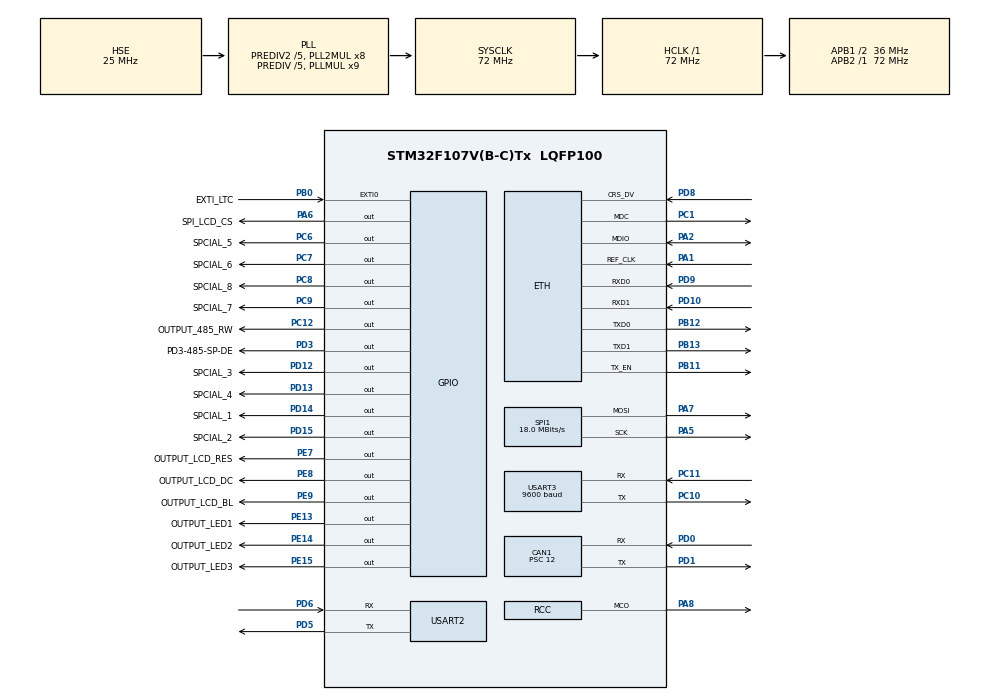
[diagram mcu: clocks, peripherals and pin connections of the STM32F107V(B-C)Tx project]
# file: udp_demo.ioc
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CAN1.BS1=CAN_BS1_5TQ
CAN1.BS2=CAN_BS2_6TQ
CAN1.CalculateTimeBit=4000
CAN1.CalculateTimeQuantum=333.33333333333337
CAN1.Prescaler=12
Dma.Request0=USART3_TX
Dma.USART3_TX.0.Direction=DMA_MEMORY_TO_PERIPH
Dma.USART3_TX.0.Instance=DMA1_Channel2
Dma.USART3_TX.0.MemDataAlignment=DMA_MDATAALIGN_BYTE
Dma.USART3_TX.0.MemInc=DMA_MINC_ENABLE
Dma.USART3_TX.0.Mode=DMA_NORMAL
Dma.USART3_TX.0.PeriphDataAlignment=DMA_PDATAALIGN_BYTE
Dma.USART3_TX.0.PeriphInc=DMA_PINC_DISABLE
Dma.USART3_TX.0.Priority=DMA_PRIORITY_LOW
ETH.MediaInterface=ETH_MEDIA_INTERFACE_RMII
LWIP.GATEWAY_ADDRESS=192.168.001.001
LWIP.IP_ADDRESS=192.168.001.252
LWIP.LWIP_DHCP=1
LWIP.LWIP_NETIF_LINK_CALLBACK=1
LWIP.NETMASK_ADDRESS=255.255.255.000
LWIP.Version=v2.0.0_Cube
Mcu.Family=STM32F1
Mcu.Name=STM32F107V(B-C)Tx
Mcu.Package=LQFP100
NVIC.CAN1_RX0_IRQn=true\:0\:0\:false\:false\:true\:true
NVIC.DMA1_Channel2_IRQn=true\:0\:0\:false\:false\:true\:false
NVIC.ETH_IRQn=true\:0\:0\:false\:false\:true\:true
NVIC.EXTI0_IRQn=true\:0\:0\:false\:false\:true\:true
NVIC.PriorityGroup=NVIC_PRIORITYGROUP_4
NVIC.TIM2_IRQn=true\:0\:0\:false\:false\:true\:true
NVIC.USART2_IRQn=true\:0\:0\:false\:false\:true\:true
NVIC.USART3_IRQn=true\:0\:0\:false\:false\:true\:true
OSC_IN.Mode=HSE-External-Oscillator
OSC_IN.Signal=RCC_OSC_IN
OSC_OUT.Mode=HSE-External-Oscillator
OSC_OUT.Signal=RCC_OSC_OUT
PA1.Mode=RMII
PA1.Signal=ETH_REF_CLK
PA13.Mode=Serial_Wire
PA13.Signal=SYS_JTMS-SWDIO
PA14.Mode=Serial_Wire
PA14.Signal=SYS_JTCK-SWCLK
PA2.Mode=RMII
PA2.Signal=ETH_MDIO
PA5.Mode=TX_Only_Simplex_Unidirect_Master
PA5.Signal=SPI1_SCK
PA6.GPIO_Label=SPI_LCD_CS
PA6.GPIO_Speed=GPIO_SPEED_FREQ_HIGH
PA6.PinState=GPIO_PIN_SET
PA6.Signal=GPIO_Output
PA7.Mode=TX_Only_Simplex_Unidirect_Master
PA7.Signal=SPI1_MOSI
PA8.GPIO_Speed=GPIO_SPEED_FREQ_HIGH
PA8.Mode=Clock-out
PA8.Signal=RCC_MCO
PB0.GPIO_Label=EXTI_LTC
PB0.GPIO_ModeDefaultEXTI=GPIO_MODE_IT_RISING_FALLING
PB0.Signal=GPXTI0
PB11.Mode=RMII
PB11.Signal=ETH_TX_EN
PB12.Mode=RMII
PB12.Signal=ETH_TXD0
PB13.Mode=RMII
PB13.Signal=ETH_TXD1
PC1.Mode=RMII
PC1.Signal=ETH_MDC
PC10.Mode=Asynchronous
PC10.Signal=USART3_TX
PC11.Mode=Asynchronous
PC11.Signal=USART3_RX
PC12.GPIO_Label=OUTPUT_485_RW
PC12.GPIO_Speed=GPIO_SPEED_FREQ_HIGH
PC12.PinState=GPIO_PIN_SET
PC12.Signal=GPIO_Output
PC6.GPIO_Label=SPCIAL_5
PC6.GPIO_ModeDefaultOutputPP=GPIO_MODE_OUTPUT_OD
PC6.PinState=GPIO_PIN_SET
PC6.Signal=GPIO_Output
PC7.GPIO_Label=SPCIAL_6
PC7.GPIO_ModeDefaultOutputPP=GPIO_MODE_OUTPUT_OD
PC7.PinState=GPIO_PIN_SET
PC7.Signal=GPIO_Output
PC8.GPIO_Label=SPCIAL_8
PC8.GPIO_ModeDefaultOutputPP=GPIO_MODE_OUTPUT_OD
PC8.PinState=GPIO_PIN_SET
PC8.Signal=GPIO_Output
PC9.GPIO_Label=SPCIAL_7
PC9.GPIO_ModeDefaultOutputPP=GPIO_MODE_OUTPUT_OD
PC9.PinState=GPIO_PIN_SET
PC9.Signal=GPIO_Output
PD0.Mode=Master
PD0.Signal=CAN1_RX
PD1.Mode=Master
PD1.Signal=CAN1_TX
PD10.Mode=RMII
PD10.Signal=ETH_RXD1
PD12.GPIO_Label=SPCIAL_3
PD12.GPIO_ModeDefaultOutputPP=GPIO_MODE_OUTPUT_OD
PD12.PinState=GPIO_PIN_SET
PD12.Signal=GPIO_Output
PD13.GPIO_Label=SPCIAL_4
PD13.GPIO_ModeDefaultOutputPP=GPIO_MODE_OUTPUT_OD
PD13.PinState=GPIO_PIN_SET
PD13.Signal=GPIO_Output
PD14.GPIO_Label=SPCIAL_1
PD14.GPIO_ModeDefaultOutputPP=GPIO_MODE_OUTPUT_OD
PD14.PinState=GPIO_PIN_SET
PD14.Signal=GPIO_Output
PD15.GPIO_Label=SPCIAL_2
PD15.GPIO_ModeDefaultOutputPP=GPIO_MODE_OUTPUT_OD
PD15.PinState=GPIO_PIN_SET
PD15.Signal=GPIO_Output
PD3.GPIO_Label=PD3-485-SP-DE
PD3.GPIO_ModeDefaultOutputPP=GPIO_MODE_OUTPUT_PP
PD3.GPIO_Speed=GPIO_SPEED_FREQ_HIGH
PD3.PinState=GPIO_PIN_SET
PD3.Signal=GPIO_Output
PD5.Mode=Asynchronous
PD5.Signal=USART2_TX
PD6.Mode=Asynchronous
PD6.Signal=USART2_RX
PD8.Mode=RMII
PD8.Signal=ETH_CRS_DV
PD9.Mode=RMII
PD9.Signal=ETH_RXD0
PE13.GPIO_Label=OUTPUT_LED1
PE13.GPIO_Speed=GPIO_SPEED_FREQ_HIGH
PE13.PinState=GPIO_PIN_SET
PE13.Signal=GPIO_Output
PE14.GPIO_Label=OUTPUT_LED2
PE14.GPIO_Speed=GPIO_SPEED_FREQ_HIGH
PE14.PinState=GPIO_PIN_RESET
PE14.Signal=GPIO_Output
PE15.GPIO_Label=OUTPUT_LED3
PE15.GPIO_Speed=GPIO_SPEED_FREQ_HIGH
PE15.PinState=GPIO_PIN_RESET
PE15.Signal=GPIO_Output
PE7.GPIO_Label=OUTPUT_LCD_RES
PE7.GPIO_Speed=GPIO_SPEED_FREQ_HIGH
PE7.PinState=GPIO_PIN_RESET
PE7.Signal=GPIO_Output
PE8.GPIO_Label=OUTPUT_LCD_DC
PE8.GPIO_Speed=GPIO_SPEED_FREQ_HIGH
PE8.PinState=GPIO_PIN_SET
PE8.Signal=GPIO_Output
PE9.GPIO_Label=OUTPUT_LCD_BL
PE9.GPIO_Speed=GPIO_SPEED_FREQ_HIGH
PE9.PinState=GPIO_PIN_SET
PE9.Signal=GPIO_Output
ProjectManager.HeapSize=0x200
ProjectManager.StackSize=0x400
ProjectManager.TargetToolchain=MDK-ARM V5
RCC.AHBFreq_Value=72000000
RCC.APB1CLKDivider=RCC_HCLK_DIV2
RCC.APB1Freq_Value=36000000
RCC.APB1TimFreq_Value=72000000
RCC.APB2Freq_Value=72000000
RCC.APB2TimFreq_Value=72000000
RCC.HCLKFreq_Value=72000000
RCC.HSEDivPLL=RCC_HSE_PREDIV_DIV5
RCC.HSE_VALUE=25000000
RCC.PLL3Mul=RCC_PLLI2S_MUL10
RCC.PLLMUL=RCC_PLL_MUL9
RCC.PLLSourceVirtual=RCC_PLLSOURCE_HSE
RCC.Prediv1Source=RCC_PREDIV1_SOURCE_PLL2
RCC.Prediv2=RCC_HSE_PREDIV2_DIV5
RCC.RCC_MCOSource=RCC_MCO1SOURCE_PLL3CLK
RCC.SYSCLKFreq_VALUE=72000000
RCC.SYSCLKSource=RCC_SYSCLKSOURCE_PLLCLK
RCC.USBFreq_Value=48000000
SPI1.BaudRatePrescaler=SPI_BAUDRATEPRESCALER_4
SPI1.CalculateBaudRate=18.0 MBits/s
SPI1.Direction=SPI_DIRECTION_2LINES
SPI1.Mode=SPI_MODE_MASTER
SPI1.VirtualType=VM_MASTER
TIM2.Period=99
TIM2.Prescaler=7199
TIM3.Period=50000
TIM3.Prescaler=71
USART2.VirtualMode=VM_ASYNC
USART3.BaudRate=9600
USART3.VirtualMode=VM_ASYNC
VP_LWIP_VS_Enabled.Mode=Enabled
VP_TIM2_VS_ClockSourceINT.Mode=Internal
VP_TIM3_VS_ClockSourceINT.Mode=Internal
board=udp_demo

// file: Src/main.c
/**
  ******************************************************************************
  * @file           : main.c
  * @brief          : Main program body
  ******************************************************************************
  * This notice applies to any and all portions of this file
  * that are not between comment pairs USER CODE BEGIN and
  * USER CODE END. Other portions of this file, whether
  * inserted by the user or by software development tools
  * are owned by their respective copyright owners.
  *
  * Copyright (c) 2018 STMicroelectronics International N.V.
  * All rights reserved.
  *
  * Redistribution and use in source and binary forms, with or without
  * modification, are permitted, provided that the following conditions are met:
  *
  * 1. Redistribution of source code must retain the above copyright notice,
  *    this list of conditions and the following disclaimer.
  * 2. Redistributions in binary form must reproduce the above copyright notice,
  *    this list of conditions and the following disclaimer in the documentation
  *    and/or other materials provided with the distribution.
  * 3. Neither the name of STMicroelectronics nor the names of other
  *    contributors to this software may be used to endorse or promote products
  *    derived from this software without specific written permission.
  * 4. This software, including modifications and/or derivative works of this
  *    software, must execute solely and exclusively on microcontroller or
  *    microprocessor devices manufactured by or for STMicroelectronics.
  * 5. Redistribution and use of this software other than as permitted under
  *    this license is void and will automatically terminate your rights under
  *    this license.
  *
  * THIS SOFTWARE IS PROVIDED BY STMICROELECTRONICS AND CONTRIBUTORS "AS IS"
  * AND ANY EXPRESS, IMPLIED OR STATUTORY WARRANTIES, INCLUDING, BUT NOT
  * LIMITED TO, THE IMPLIED WARRANTIES OF MERCHANTABILITY, FITNESS FOR A
  * PARTICULAR PURPOSE AND NON-INFRINGEMENT OF THIRD PARTY INTELLECTUAL PROPERTY
  * RIGHTS ARE DISCLAIMED TO THE FULLEST EXTENT PERMITTED BY LAW. IN NO EVENT
  * SHALL STMICROELECTRONICS OR CONTRIBUTORS BE LIABLE FOR ANY DIRECT, INDIRECT,
  * INCIDENTAL, SPECIAL, EXEMPLARY, OR CONSEQUENTIAL DAMAGES (INCLUDING, BUT NOT
  * LIMITED TO, PROCUREMENT OF SUBSTITUTE GOODS OR SERVICES; LOSS OF USE, DATA,
  * OR PROFITS; OR BUSINESS INTERRUPTION) HOWEVER CAUSED AND ON ANY THEORY OF
  * LIABILITY, WHETHER IN CONTRACT, STRICT LIABILITY, OR TORT (INCLUDING
  * NEGLIGENCE OR OTHERWISE) ARISING IN ANY WAY OUT OF THE USE OF THIS SOFTWARE,
  * EVEN IF ADVISED OF THE POSSIBILITY OF SUCH DAMAGE.
  *
  ******************************************************************************
  */
#include "main.h"
#include "stm32f1xx_hal.h"
#include "lwip.h"

/* USER CODE BEGIN Includes */
#include "user_config.h"
#include "user_io.h"
#include "user_time.h"
#include "user_uart.h"
#include "user_spi.h"
#include "spi_lcd.h"
#include "app_ethernet.h"
#include "udp_echoclient.h"
#include "flash_map.h"
#include "user_can.h"
#include "sw_timer.h"

/* USER CODE END Includes */

CAN_HandleTypeDef hcan1;

SPI_HandleTypeDef hspi1;

TIM_HandleTypeDef htim2;
TIM_HandleTypeDef htim3;

UART_HandleTypeDef huart2;
UART_HandleTypeDef huart3;
DMA_HandleTypeDef hdma_usart3_tx;

/* USER CODE BEGIN PV */
/* Private variables ---------------------------------------------------------*/

/* USER CODE END PV */

void SystemClock_Config(void);
static void MX_GPIO_Init(void);
static void MX_DMA_Init(void);
static void MX_SPI1_Init(void);
static void MX_USART2_UART_Init(void);
static void MX_USART3_UART_Init(void);
static void MX_TIM2_Init(void);
static void MX_TIM3_Init(void);
static void MX_CAN1_Init(void);

/* USER CODE BEGIN PFP */
/* Private function prototypes -----------------------------------------------*/

/* USER CODE END PFP */

int main(void)
{
  /* USER CODE BEGIN 1 */
  SCB->VTOR = USER_FLASH_APP_BASE;
  /* USER CODE END 1 */

  /* MCU Configuration----------------------------------------------------------*/

  /* Reset of all peripherals, Initializes the Flash interface and the Systick. */
  HAL_Init();

  /* Configure the system clock */
  SystemClock_Config();

  /* Initialize all configured peripherals */
  MX_GPIO_Init();
  MX_DMA_Init();
  MX_LWIP_Init();
  MX_SPI1_Init();
  MX_USART2_UART_Init();
  MX_USART3_UART_Init();
  MX_TIM2_Init();
  MX_TIM3_Init();
  MX_CAN1_Init();
  /* USER CODE BEGIN 2 */
  user_io_init();
  user_uart_init();
  user_spi_init();
  user_time_init();
  spi_lcd_init();
	user_can_init();
	sw_timer_init();
  udp_echoclient_connect();
  User_notification(&gnetif);
  /* USER CODE END 2 */

  /* Infinite loop */
  while (1)
  {

  /* USER CODE BEGIN 3 */
	MX_LWIP_Process();
  }
  /* USER CODE END 3 */

}

void SystemClock_Config(void)
{

  RCC_OscInitTypeDef RCC_OscInitStruct;
  RCC_ClkInitTypeDef RCC_ClkInitStruct;

    /**Initializes the CPU, AHB and APB busses clocks
    */
  RCC_OscInitStruct.OscillatorType = RCC_OSCILLATORTYPE_HSE;
  RCC_OscInitStruct.HSEState = RCC_HSE_ON;
  RCC_OscInitStruct.HSEPredivValue = RCC_HSE_PREDIV_DIV5;
  RCC_OscInitStruct.HSIState = RCC_HSI_ON;
  RCC_OscInitStruct.Prediv1Source = RCC_PREDIV1_SOURCE_PLL2;
  RCC_OscInitStruct.PLL.PLLState = RCC_PLL_ON;
  RCC_OscInitStruct.PLL.PLLSource = RCC_PLLSOURCE_HSE;
  RCC_OscInitStruct.PLL.PLLMUL = RCC_PLL_MUL9;
  RCC_OscInitStruct.PLL2.PLL2State = RCC_PLL2_ON;
  RCC_OscInitStruct.PLL2.PLL2MUL = RCC_PLL2_MUL8;
  RCC_OscInitStruct.PLL2.HSEPrediv2Value = RCC_HSE_PREDIV2_DIV5;
  if (HAL_RCC_OscConfig(&RCC_OscInitStruct) != HAL_OK)
  {
    _Error_Handler(__FILE__, __LINE__);
  }

    /**Initializes the CPU, AHB and APB busses clocks
    */
  RCC_ClkInitStruct.ClockType = RCC_CLOCKTYPE_HCLK|RCC_CLOCKTYPE_SYSCLK
                              |RCC_CLOCKTYPE_PCLK1|RCC_CLOCKTYPE_PCLK2;
  RCC_ClkInitStruct.SYSCLKSource = RCC_SYSCLKSOURCE_PLLCLK;
  RCC_ClkInitStruct.AHBCLKDivider = RCC_SYSCLK_DIV1;
  RCC_ClkInitStruct.APB1CLKDivider = RCC_HCLK_DIV2;
  RCC_ClkInitStruct.APB2CLKDivider = RCC_HCLK_DIV1;

  if (HAL_RCC_ClockConfig(&RCC_ClkInitStruct, FLASH_LATENCY_2) != HAL_OK)
  {
    _Error_Handler(__FILE__, __LINE__);
  }

  HAL_RCC_MCOConfig(RCC_MCO, RCC_MCO1SOURCE_PLL3CLK, RCC_MCODIV_1);

    /**Configure the Systick interrupt time
    */
  HAL_SYSTICK_Config(HAL_RCC_GetHCLKFreq()/1000);

    /**Configure the Systick
    */
  HAL_SYSTICK_CLKSourceConfig(SYSTICK_CLKSOURCE_HCLK);

    /**Configure the Systick interrupt time
    */
  __HAL_RCC_HSE_PREDIV2_CONFIG(RCC_HSE_PREDIV2_DIV5);

    /**Configure the Systick interrupt time
    */
  __HAL_RCC_PLLI2S_CONFIG(RCC_PLLI2S_MUL10);

    /**Configure the Systick interrupt time
    */
  __HAL_RCC_PLLI2S_ENABLE();

  /* SysTick_IRQn interrupt configuration */
  HAL_NVIC_SetPriority(SysTick_IRQn, 0, 0);
}

/* CAN1 init function */
static void MX_CAN1_Init(void)
{

  hcan1.Instance = CAN1;
  hcan1.Init.Prescaler = 12;
  hcan1.Init.Mode = CAN_MODE_NORMAL;
  hcan1.Init.SJW = CAN_SJW_1TQ;
  hcan1.Init.BS1 = CAN_BS1_5TQ;
  hcan1.Init.BS2 = CAN_BS2_6TQ;
  hcan1.Init.TTCM = DISABLE;
  hcan1.Init.ABOM = DISABLE;
  hcan1.Init.AWUM = DISABLE;
  hcan1.Init.NART = DISABLE;
  hcan1.Init.RFLM = DISABLE;
  hcan1.Init.TXFP = DISABLE;
  if (HAL_CAN_Init(&hcan1) != HAL_OK)
  {
    _Error_Handler(__FILE__, __LINE__);
  }

}

/* SPI1 init function */
static void MX_SPI1_Init(void)
{

  /* SPI1 parameter configuration*/
  hspi1.Instance = SPI1;
  hspi1.Init.Mode = SPI_MODE_MASTER;
  hspi1.Init.Direction = SPI_DIRECTION_2LINES;
  hspi1.Init.DataSize = SPI_DATASIZE_8BIT;
  hspi1.Init.CLKPolarity = SPI_POLARITY_LOW;
  hspi1.Init.CLKPhase = SPI_PHASE_1EDGE;
  hspi1.Init.NSS = SPI_NSS_SOFT;
  hspi1.Init.BaudRatePrescaler = SPI_BAUDRATEPRESCALER_4;
  hspi1.Init.FirstBit = SPI_FIRSTBIT_MSB;
  hspi1.Init.TIMode = SPI_TIMODE_DISABLE;
  hspi1.Init.CRCCalculation = SPI_CRCCALCULATION_DISABLE;
  hspi1.Init.CRCPolynomial = 10;
  if (HAL_SPI_Init(&hspi1) != HAL_OK)
  {
    _Error_Handler(__FILE__, __LINE__);
  }

}

/* TIM2 init function */
static void MX_TIM2_Init(void)
{

  TIM_ClockConfigTypeDef sClockSourceConfig;
  TIM_MasterConfigTypeDef sMasterConfig;

  htim2.Instance = TIM2;
  htim2.Init.Prescaler = 7199;
  htim2.Init.CounterMode = TIM_COUNTERMODE_UP;
  htim2.Init.Period = 99;
  htim2.Init.ClockDivision = TIM_CLOCKDIVISION_DIV1;
  htim2.Init.AutoReloadPreload = TIM_AUTORELOAD_PRELOAD_DISABLE;
  if (HAL_TIM_Base_Init(&htim2) != HAL_OK)
  {
    _Error_Handler(__FILE__, __LINE__);
  }

  sClockSourceConfig.ClockSource = TIM_CLOCKSOURCE_INTERNAL;
  if (HAL_TIM_ConfigClockSource(&htim2, &sClockSourceConfig) != HAL_OK)
  {
    _Error_Handler(__FILE__, __LINE__);
  }

  sMasterConfig.MasterOutputTrigger = TIM_TRGO_RESET;
  sMasterConfig.MasterSlaveMode = TIM_MASTERSLAVEMODE_DISABLE;
  if (HAL_TIMEx_MasterConfigSynchronization(&htim2, &sMasterConfig) != HAL_OK)
  {
    _Error_Handler(__FILE__, __LINE__);
  }

}

/* TIM3 init function */
static void MX_TIM3_Init(void)
{

  TIM_ClockConfigTypeDef sClockSourceConfig;
  TIM_MasterConfigTypeDef sMasterConfig;

  htim3.Instance = TIM3;
  htim3.Init.Prescaler = 71;
  htim3.Init.CounterMode = TIM_COUNTERMODE_UP;
  htim3.Init.Period = 50000;
  htim3.Init.ClockDivision = TIM_CLOCKDIVISION_DIV1;
  htim3.Init.AutoReloadPreload = TIM_AUTORELOAD_PRELOAD_DISABLE;
  if (HAL_TIM_Base_Init(&htim3) != HAL_OK)
  {
    _Error_Handler(__FILE__, __LINE__);
  }

  sClockSourceConfig.ClockSource = TIM_CLOCKSOURCE_INTERNAL;
  if (HAL_TIM_ConfigClockSource(&htim3, &sClockSourceConfig) != HAL_OK)
  {
    _Error_Handler(__FILE__, __LINE__);
  }

  sMasterConfig.MasterOutputTrigger = TIM_TRGO_RESET;
  sMasterConfig.MasterSlaveMode = TIM_MASTERSLAVEMODE_DISABLE;
  if (HAL_TIMEx_MasterConfigSynchronization(&htim3, &sMasterConfig) != HAL_OK)
  {
    _Error_Handler(__FILE__, __LINE__);
  }

}

/* USART2 init function */
static void MX_USART2_UART_Init(void)
{

  huart2.Instance = USART2;
  huart2.Init.BaudRate = 115200;
  huart2.Init.WordLength = UART_WORDLENGTH_8B;
  huart2.Init.StopBits = UART_STOPBITS_1;
  huart2.Init.Parity = UART_PARITY_NONE;
  huart2.Init.Mode = UART_MODE_TX_RX;
  huart2.Init.HwFlowCtl = UART_HWCONTROL_NONE;
  huart2.Init.OverSampling = UART_OVERSAMPLING_16;
  if (HAL_UART_Init(&huart2) != HAL_OK)
  {
    _Error_Handler(__FILE__, __LINE__);
  }

}

/* USART3 init function */
static void MX_USART3_UART_Init(void)
{

  huart3.Instance = USART3;
  huart3.Init.BaudRate = 9600;
  huart3.Init.WordLength = UART_WORDLENGTH_8B;
  huart3.Init.StopBits = UART_STOPBITS_1;
  huart3.Init.Parity = UART_PARITY_NONE;
  huart3.Init.Mode = UART_MODE_TX_RX;
  huart3.Init.HwFlowCtl = UART_HWCONTROL_NONE;
  huart3.Init.OverSampling = UART_OVERSAMPLING_16;
  if (HAL_UART_Init(&huart3) != HAL_OK)
  {
    _Error_Handler(__FILE__, __LINE__);
  }

}

static void MX_DMA_Init(void)
{
  /* DMA controller clock enable */
  __HAL_RCC_DMA1_CLK_ENABLE();

  /* DMA interrupt init */
  /* DMA1_Channel2_IRQn interrupt configuration */
  HAL_NVIC_SetPriority(DMA1_Channel2_IRQn, 0, 0);
  HAL_NVIC_EnableIRQ(DMA1_Channel2_IRQn);

}

/** Configure pins as
        * Analog
        * Input
        * Output
        * EVENT_OUT
        * EXTI
     PA8   ------> RCC_MCO
*/
static void MX_GPIO_Init(void)
{

  GPIO_InitTypeDef GPIO_InitStruct;

  /* GPIO Ports Clock Enable */
  __HAL_RCC_GPIOC_CLK_ENABLE();
  __HAL_RCC_GPIOA_CLK_ENABLE();
  __HAL_RCC_GPIOB_CLK_ENABLE();
  __HAL_RCC_GPIOE_CLK_ENABLE();
  __HAL_RCC_GPIOD_CLK_ENABLE();

  /*Configure GPIO pin Output Level */
  HAL_GPIO_WritePin(SPI_LCD_CS_GPIO_Port, SPI_LCD_CS_Pin, GPIO_PIN_SET);

  /*Configure GPIO pin Output Level */
  HAL_GPIO_WritePin(GPIOE, OUTPUT_LCD_RES_Pin|OUTPUT_LED2_Pin|OUTPUT_LED3_Pin, GPIO_PIN_RESET);

  /*Configure GPIO pin Output Level */
  HAL_GPIO_WritePin(GPIOE, OUTPUT_LCD_DC_Pin|OUTPUT_LCD_BL_Pin|OUTPUT_LED1_Pin, GPIO_PIN_SET);

  /*Configure GPIO pin Output Level */
  HAL_GPIO_WritePin(GPIOD, SPCIAL_3_Pin|SPCIAL_4_Pin|SPCIAL_1_Pin|SPCIAL_2_Pin
                          |PD3_485_SP_DE_Pin, GPIO_PIN_SET);

  /*Configure GPIO pin Output Level */
  HAL_GPIO_WritePin(GPIOC, SPCIAL_5_Pin|SPCIAL_6_Pin|SPCIAL_8_Pin|SPCIAL_7_Pin
                          |OUTPUT_485_RW_Pin, GPIO_PIN_SET);

  /*Configure GPIO pin : SPI_LCD_CS_Pin */
  GPIO_InitStruct.Pin = SPI_LCD_CS_Pin;
  GPIO_InitStruct.Mode = GPIO_MODE_OUTPUT_PP;
  GPIO_InitStruct.Pull = GPIO_NOPULL;
  GPIO_InitStruct.Speed = GPIO_SPEED_FREQ_HIGH;
  HAL_GPIO_Init(SPI_LCD_CS_GPIO_Port, &GPIO_InitStruct);

  /*Configure GPIO pin : EXTI_LTC_Pin */
  GPIO_InitStruct.Pin = EXTI_LTC_Pin;
  GPIO_InitStruct.Mode = GPIO_MODE_IT_RISING_FALLING;
  GPIO_InitStruct.Pull = GPIO_NOPULL;
  HAL_GPIO_Init(EXTI_LTC_GPIO_Port, &GPIO_InitStruct);

  /*Configure GPIO pins : OUTPUT_LCD_RES_Pin OUTPUT_LCD_DC_Pin OUTPUT_LCD_BL_Pin OUTPUT_LED1_Pin
                           OUTPUT_LED2_Pin OUTPUT_LED3_Pin */
  GPIO_InitStruct.Pin = OUTPUT_LCD_RES_Pin|OUTPUT_LCD_DC_Pin|OUTPUT_LCD_BL_Pin|OUTPUT_LED1_Pin
                          |OUTPUT_LED2_Pin|OUTPUT_LED3_Pin;
  GPIO_InitStruct.Mode = GPIO_MODE_OUTPUT_PP;
  GPIO_InitStruct.Pull = GPIO_NOPULL;
  GPIO_InitStruct.Speed = GPIO_SPEED_FREQ_HIGH;
  HAL_GPIO_Init(GPIOE, &GPIO_InitStruct);

  /*Configure GPIO pins : SPCIAL_3_Pin SPCIAL_4_Pin SPCIAL_1_Pin SPCIAL_2_Pin */
  GPIO_InitStruct.Pin = SPCIAL_3_Pin|SPCIAL_4_Pin|SPCIAL_1_Pin|SPCIAL_2_Pin;
  GPIO_InitStruct.Mode = GPIO_MODE_OUTPUT_OD;
  GPIO_InitStruct.Pull = GPIO_NOPULL;
  GPIO_InitStruct.Speed = GPIO_SPEED_FREQ_LOW;
  HAL_GPIO_Init(GPIOD, &GPIO_InitStruct);

  /*Configure GPIO pins : SPCIAL_5_Pin SPCIAL_6_Pin SPCIAL_8_Pin SPCIAL_7_Pin */
  GPIO_InitStruct.Pin = SPCIAL_5_Pin|SPCIAL_6_Pin|SPCIAL_8_Pin|SPCIAL_7_Pin;
  GPIO_InitStruct.Mode = GPIO_MODE_OUTPUT_OD;
  GPIO_InitStruct.Pull = GPIO_NOPULL;
  GPIO_InitStruct.Speed = GPIO_SPEED_FREQ_LOW;
  HAL_GPIO_Init(GPIOC, &GPIO_InitStruct);

  /*Configure GPIO pin : PA8 */
  GPIO_InitStruct.Pin = GPIO_PIN_8;
  GPIO_InitStruct.Mode = GPIO_MODE_AF_PP;
  GPIO_InitStruct.Speed = GPIO_SPEED_FREQ_HIGH;
  HAL_GPIO_Init(GPIOA, &GPIO_InitStruct);

  /*Configure GPIO pin : OUTPUT_485_RW_Pin */
  GPIO_InitStruct.Pin = OUTPUT_485_RW_Pin;
  GPIO_InitStruct.Mode = GPIO_MODE_OUTPUT_PP;
  GPIO_InitStruct.Pull = GPIO_NOPULL;
  GPIO_InitStruct.Speed = GPIO_SPEED_FREQ_HIGH;
  HAL_GPIO_Init(OUTPUT_485_RW_GPIO_Port, &GPIO_InitStruct);

  /*Configure GPIO pin : PD3_485_SP_DE_Pin */
  GPIO_InitStruct.Pin = PD3_485_SP_DE_Pin;
  GPIO_InitStruct.Mode = GPIO_MODE_OUTPUT_PP;
  GPIO_InitStruct.Pull = GPIO_NOPULL;
  GPIO_InitStruct.Speed = GPIO_SPEED_FREQ_HIGH;
  HAL_GPIO_Init(PD3_485_SP_DE_GPIO_Port, &GPIO_InitStruct);

  /* EXTI interrupt init*/
  HAL_NVIC_SetPriority(EXTI0_IRQn, 0, 0);
  HAL_NVIC_EnableIRQ(EXTI0_IRQn);

}

void _Error_Handler(char *file, int line)
{
  while(1)
  {
  }
}

/************************ (C) COPYRIGHT STMicroelectronics *****END OF FILE****/
